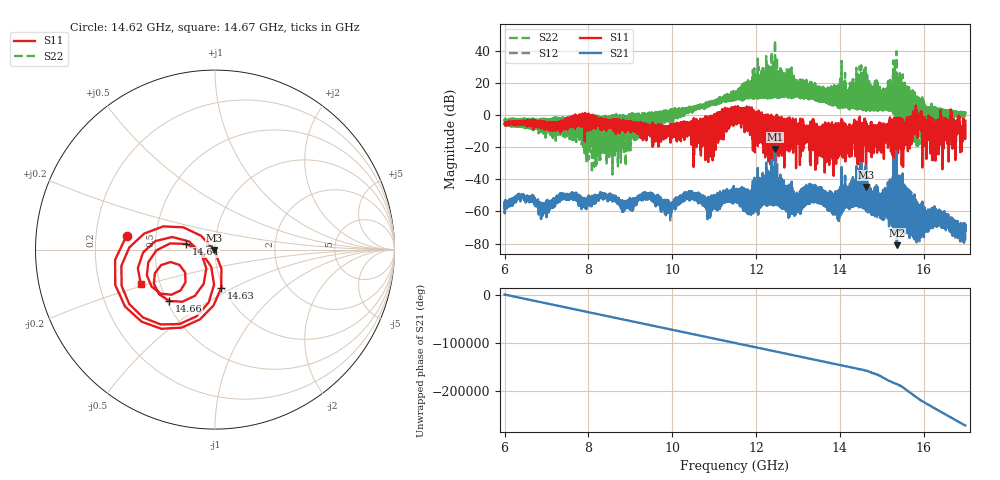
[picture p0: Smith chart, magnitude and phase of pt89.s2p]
#  HZ  S  RI  R  50.00
! Rohde & Schwarz Vector Network Analyzer
! Rohde-Schwarz,ZNA67-2Port,1332450062101215,3.01
! Created: UTC 10/19/2026, 10:45:43 AM
! freq[Hz]  re:S11  im:S11  re:S21  im:S21  re:S12  im:S12  re:S22  im:S22
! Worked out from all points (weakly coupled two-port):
!   11001 points, 6 GHz to 17 GHz, reference 50 ohm
!   highest |S21| = -21.11 dB at 12.46 GHz (marker M1); lowest = -81.1 dB at 15.37 GHz (marker M2)
!   lowest |S11| = -44.7 dB at 14.63 GHz (marker M3), VSWR 1.01, Z = 49.7 - j0.492 ohm
!   |S11| at or under -10 dB: 13.46881 GHz to 13.49486 GHz (26.06 MHz wide, 0.193 % of centre); 13.68905 GHz to 13.7152 GHz (26.16 MHz wide, 0.191 % of centre); 13.92238 GHz to 13.94878 GHz (26.4 MHz wide, 0.189 % of centre) (the widest 3 of 519)
!   |S22| runs from -37.0 to 46.4 dB; largest |S21 - S12| = 0.0051
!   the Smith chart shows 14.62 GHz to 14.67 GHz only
!   S11 on the Smith chart (normalised r, x): 14.62 GHz: 0.34, +0.07; 14.63 GHz: 0.97, -0.44; 14.64 GHz: 0.72, +0.05; 14.66 GHz: 0.51, -0.35; 14.67 GHz: 0.39, -0.19
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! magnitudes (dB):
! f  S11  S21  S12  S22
! 6 GHz  -5.8  -54.2  -54.2  -3.8
! 7.834 GHz  -3.4  -52.0  -52.0  -1.4
! 9.667 GHz  -6.1  -51.4  -51.5  1.9
! 11.5 GHz  5.0  -51.9  -52.1  11.0
! 11.85 GHz  -1.1  -57.4  -57.1  12.3
! 12.46 GHz  -17.0  -21.1  -20.9  46.4
! 12.91 GHz  -8.7  -58.9  -58.8  14.0
! 13.33 GHz  -12.6  -51.2  -51.4  12.5
! 13.93 GHz  -15.0  -60.2  -60.2  8.1
! 14.62 GHz  -6.0  -54.8  -54.8  7.1
! 14.63 GHz  -13.3  -48.6  -48.8  11.4
! 14.63 GHz  -44.7  -58.2  -58.4  5.6
! 14.64 GHz  -15.8  -59.0  -58.9  3.0
! 14.66 GHz  -8.3  -53.3  -53.3  7.6
! 14.67 GHz  -6.8  -52.8  -52.1  13.4
! 15.17 GHz  -14.7  -57.0  -57.3  8.0
! 15.37 GHz  -19.7  -81.1  -81.6  -0.2
! 15.68 GHz  -2.4  -60.4  -59.5  5.7
! 15.8 GHz  -6.0  -76.8  -75.9  -16.4
! 16.42 GHz  -2.9  -63.7  -64.1  0.0
! 16.91 GHz  -19.3  -71.2  -71.3  1.0
! 17 GHz  -3.6  -72.0  -72.5  1.4
